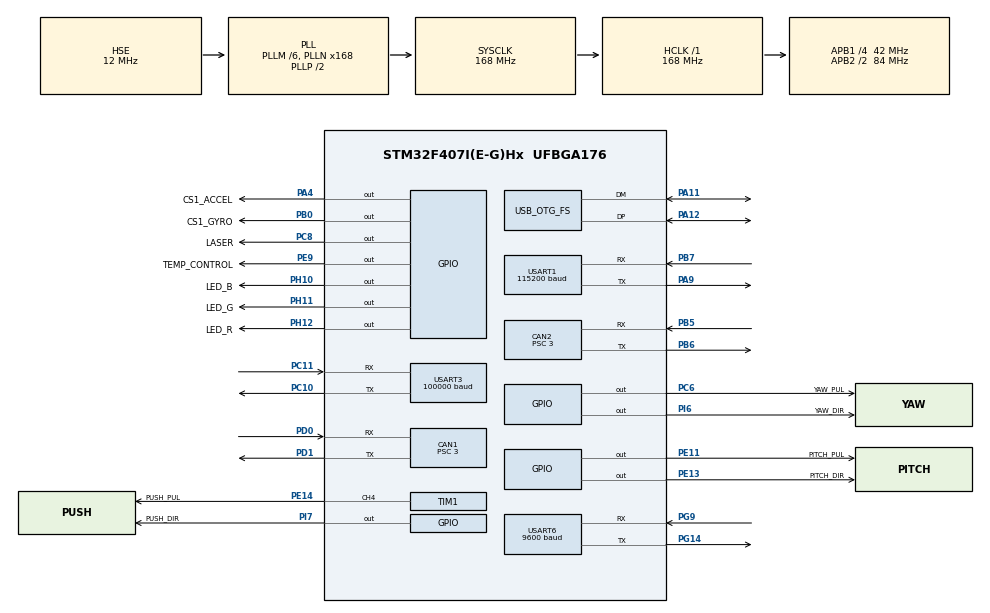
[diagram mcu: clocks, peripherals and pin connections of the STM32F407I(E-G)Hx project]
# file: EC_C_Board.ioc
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CAN1.BS1=CAN_BS1_10TQ
CAN1.BS2=CAN_BS2_3TQ
CAN1.CalculateBaudRate=1000000
CAN1.CalculateTimeBit=1000
CAN1.CalculateTimeQuantum=71.42857142857143
CAN1.Prescaler=3
CAN2.BS1=CAN_BS1_10TQ
CAN2.BS2=CAN_BS2_3TQ
CAN2.CalculateBaudRate=1000000
CAN2.CalculateTimeBit=1000
CAN2.CalculateTimeQuantum=71.42857142857143
CAN2.Prescaler=3
Dma.Request0=USART3_RX
Dma.Request1=USART1_RX
Dma.Request2=USART6_RX
Dma.Request3=USART6_TX
Dma.Request4=USART1_TX
Dma.USART1_RX.1.Direction=DMA_PERIPH_TO_MEMORY
Dma.USART1_RX.1.FIFOMode=DMA_FIFOMODE_DISABLE
Dma.USART1_RX.1.Instance=DMA2_Stream5
Dma.USART1_RX.1.MemDataAlignment=DMA_MDATAALIGN_BYTE
Dma.USART1_RX.1.MemInc=DMA_MINC_ENABLE
Dma.USART1_RX.1.Mode=DMA_NORMAL
Dma.USART1_RX.1.PeriphDataAlignment=DMA_PDATAALIGN_BYTE
Dma.USART1_RX.1.PeriphInc=DMA_PINC_DISABLE
Dma.USART1_RX.1.Priority=DMA_PRIORITY_MEDIUM
Dma.USART1_TX.4.Direction=DMA_MEMORY_TO_PERIPH
Dma.USART1_TX.4.FIFOMode=DMA_FIFOMODE_DISABLE
Dma.USART1_TX.4.Instance=DMA2_Stream7
Dma.USART1_TX.4.MemDataAlignment=DMA_MDATAALIGN_BYTE
Dma.USART1_TX.4.MemInc=DMA_MINC_ENABLE
Dma.USART1_TX.4.Mode=DMA_NORMAL
Dma.USART1_TX.4.PeriphDataAlignment=DMA_PDATAALIGN_BYTE
Dma.USART1_TX.4.PeriphInc=DMA_PINC_DISABLE
Dma.USART1_TX.4.Priority=DMA_PRIORITY_MEDIUM
Dma.USART3_RX.0.Direction=DMA_PERIPH_TO_MEMORY
Dma.USART3_RX.0.FIFOMode=DMA_FIFOMODE_DISABLE
Dma.USART3_RX.0.Instance=DMA1_Stream1
Dma.USART3_RX.0.MemDataAlignment=DMA_MDATAALIGN_BYTE
Dma.USART3_RX.0.MemInc=DMA_MINC_ENABLE
Dma.USART3_RX.0.Mode=DMA_NORMAL
Dma.USART3_RX.0.PeriphDataAlignment=DMA_PDATAALIGN_BYTE
Dma.USART3_RX.0.PeriphInc=DMA_PINC_DISABLE
Dma.USART3_RX.0.Priority=DMA_PRIORITY_LOW
Dma.USART6_RX.2.Direction=DMA_PERIPH_TO_MEMORY
Dma.USART6_RX.2.FIFOMode=DMA_FIFOMODE_DISABLE
Dma.USART6_RX.2.Instance=DMA2_Stream1
Dma.USART6_RX.2.MemDataAlignment=DMA_MDATAALIGN_BYTE
Dma.USART6_RX.2.MemInc=DMA_MINC_ENABLE
Dma.USART6_RX.2.Mode=DMA_NORMAL
Dma.USART6_RX.2.PeriphDataAlignment=DMA_PDATAALIGN_BYTE
Dma.USART6_RX.2.PeriphInc=DMA_PINC_DISABLE
Dma.USART6_RX.2.Priority=DMA_PRIORITY_MEDIUM
Dma.USART6_TX.3.Direction=DMA_MEMORY_TO_PERIPH
Dma.USART6_TX.3.FIFOMode=DMA_FIFOMODE_DISABLE
Dma.USART6_TX.3.Instance=DMA2_Stream6
Dma.USART6_TX.3.MemDataAlignment=DMA_MDATAALIGN_BYTE
Dma.USART6_TX.3.MemInc=DMA_MINC_ENABLE
Dma.USART6_TX.3.Mode=DMA_NORMAL
Dma.USART6_TX.3.PeriphDataAlignment=DMA_PDATAALIGN_BYTE
Dma.USART6_TX.3.PeriphInc=DMA_PINC_DISABLE
Dma.USART6_TX.3.Priority=DMA_PRIORITY_MEDIUM
FREERTOS.INCLUDE_vTaskDelayUntil=1
FREERTOS.Tasks01=defaultTask,0,128,StartDefaultTask,Default,NULL,Dynamic,NULL,NULL;gimbalTask,1,256,StartGimbalTask,Default,NULL,Dynamic,NULL,NULL;modeTask,2,256,StartModeTask,Default,NULL,Dynamic,NULL,NULL
FREERTOS.configENABLE_FPU=1
FREERTOS.configUSE_NEWLIB_REENTRANT=1
Mcu.Family=STM32F4
Mcu.Name=STM32F407I(E-G)Hx
Mcu.Package=UFBGA176
NVIC.CAN1_RX0_IRQn=true\:5\:0\:false\:false\:true\:true\:true\:true\:true
NVIC.CAN1_RX1_IRQn=true\:5\:0\:false\:false\:true\:true\:true\:true\:true
NVIC.CAN2_RX0_IRQn=true\:5\:0\:false\:false\:true\:true\:true\:true\:true
NVIC.CAN2_RX1_IRQn=true\:5\:0\:false\:false\:true\:true\:true\:true\:true
NVIC.DMA1_Stream1_IRQn=true\:5\:0\:false\:false\:true\:true\:false\:true\:true
NVIC.DMA2_Stream1_IRQn=true\:5\:0\:false\:false\:true\:true\:false\:true\:true
NVIC.DMA2_Stream5_IRQn=true\:5\:0\:false\:false\:true\:true\:false\:true\:true
NVIC.DMA2_Stream6_IRQn=true\:5\:0\:false\:false\:true\:true\:false\:true\:true
NVIC.DMA2_Stream7_IRQn=true\:5\:0\:false\:false\:true\:true\:false\:true\:true
NVIC.OTG_FS_IRQn=true\:5\:0\:false\:false\:true\:true\:false\:true\:true
NVIC.PriorityGroup=NVIC_PRIORITYGROUP_4
NVIC.TIM2_IRQn=true\:15\:0\:false\:false\:true\:false\:false\:true\:true
NVIC.TimeBase=TIM2_IRQn
NVIC.TimeBaseIP=TIM2
NVIC.USART1_IRQn=true\:5\:0\:false\:false\:true\:true\:true\:true\:true
NVIC.USART3_IRQn=true\:5\:0\:false\:false\:true\:true\:true\:true\:true
NVIC.USART6_IRQn=true\:5\:0\:false\:false\:true\:true\:true\:true\:true
PA11.Mode=Device_Only
PA11.Signal=USB_OTG_FS_DM
PA12.Mode=Device_Only
PA12.Signal=USB_OTG_FS_DP
PA13.Mode=Serial_Wire
PA13.Signal=SYS_JTMS-SWDIO
PA14.Mode=Serial_Wire
PA14.Signal=SYS_JTCK-SWCLK
PA4.GPIO_Label=CS1_ACCEL
PA4.GPIO_PuPd=GPIO_PULLUP
PA4.GPIO_Speed=GPIO_SPEED_FREQ_HIGH
PA4.PinState=GPIO_PIN_SET
PA4.Signal=GPIO_Output
PA9.Mode=Asynchronous
PA9.Signal=USART1_TX
PB0.GPIO_Label=CS1_GYRO
PB0.GPIO_PuPd=GPIO_PULLUP
PB0.GPIO_Speed=GPIO_SPEED_FREQ_HIGH
PB0.PinState=GPIO_PIN_SET
PB0.Signal=GPIO_Output
PB5.Mode=CAN_Activate
PB5.Signal=CAN2_RX
PB6.Mode=CAN_Activate
PB6.Signal=CAN2_TX
PB7.Mode=Asynchronous
PB7.Signal=USART1_RX
PC10.Mode=Asynchronous
PC10.Signal=USART3_TX
PC11.Mode=Asynchronous
PC11.Signal=USART3_RX
PC6.GPIO_Label=YAW_PUL
PC6.GPIO_PuPd=GPIO_PULLUP
PC6.GPIO_Speed=GPIO_SPEED_FREQ_VERY_HIGH
PC6.Signal=GPIO_Output
PC8.GPIO_Label=LASER
PC8.GPIO_ModeDefaultOutputPP=GPIO_MODE_OUTPUT_PP
PC8.GPIO_PuPd=GPIO_PULLUP
PC8.GPIO_Speed=GPIO_SPEED_FREQ_HIGH
PC8.PinState=GPIO_PIN_SET
PC8.Signal=GPIO_Output
PD0.Mode=CAN_Activate
PD0.Signal=CAN1_RX
PD1.Mode=CAN_Activate
PD1.Signal=CAN1_TX
PE11.GPIO_Label=PITCH_PUL
PE11.GPIO_PuPd=GPIO_PULLUP
PE11.GPIO_Speed=GPIO_SPEED_FREQ_VERY_HIGH
PE11.PinState=GPIO_PIN_RESET
PE11.Signal=GPIO_Output
PE13.GPIO_Label=PITCH_DIR
PE13.GPIO_PuPd=GPIO_PULLUP
PE13.GPIO_Speed=GPIO_SPEED_FREQ_VERY_HIGH
PE13.Signal=GPIO_Output
PE14.GPIO_Label=PUSH_PUL
PE14.GPIO_Speed=GPIO_SPEED_FREQ_VERY_HIGH
PE14.Signal=S_TIM1_CH4
PE9.GPIO_Label=TEMP_CONTROL
PE9.GPIO_PuPd=GPIO_PULLUP
PE9.GPIO_Speed=GPIO_SPEED_FREQ_VERY_HIGH
PE9.Signal=GPIO_Output
PG14.Mode=Asynchronous
PG14.Signal=USART6_TX
PG9.Mode=Asynchronous
PG9.Signal=USART6_RX
PH0-OSC_IN.Mode=HSE-External-Oscillator
PH0-OSC_IN.Signal=RCC_OSC_IN
PH1-OSC_OUT.Mode=HSE-External-Oscillator
PH1-OSC_OUT.Signal=RCC_OSC_OUT
PH10.GPIO_Label=LED_B
PH10.GPIO_PuPd=GPIO_PULLUP
PH10.Signal=GPIO_Output
PH11.GPIO_Label=LED_G
PH11.GPIO_PuPd=GPIO_PULLUP
PH11.Signal=GPIO_Output
PH12.GPIO_Label=LED_R
PH12.GPIO_PuPd=GPIO_PULLUP
PH12.Signal=GPIO_Output
PI6.GPIO_Label=YAW_DIR
PI6.GPIO_PuPd=GPIO_PULLUP
PI6.GPIO_Speed=GPIO_SPEED_FREQ_VERY_HIGH
PI6.Signal=GPIO_Output
PI7.GPIO_Label=PUSH_DIR
PI7.GPIO_PuPd=GPIO_PULLUP
PI7.GPIO_Speed=GPIO_SPEED_FREQ_VERY_HIGH
PI7.PinState=GPIO_PIN_RESET
PI7.Signal=GPIO_Output
ProjectManager.HeapSize=0x200
ProjectManager.StackSize=0x400
ProjectManager.TargetToolchain=Makefile
RCC.48MHZClocksFreq_Value=48000000
RCC.AHBFreq_Value=168000000
RCC.APB1CLKDivider=RCC_HCLK_DIV4
RCC.APB1Freq_Value=42000000
RCC.APB1TimFreq_Value=84000000
RCC.APB2CLKDivider=RCC_HCLK_DIV2
RCC.APB2Freq_Value=84000000
RCC.APB2TimFreq_Value=168000000
RCC.CortexFreq_Value=168000000
RCC.HCLKFreq_Value=168000000
RCC.HSE_VALUE=12000000
RCC.HSI_VALUE=16000000
RCC.LSE_VALUE=32768
RCC.PLLM=6
RCC.PLLN=168
RCC.PLLQ=7
RCC.SYSCLKFreq_VALUE=168000000
RCC.SYSCLKSource=RCC_SYSCLKSOURCE_PLLCLK
RCC.VCOOutputFreq_Value=336000000
SH.S_TIM1_CH4.0=TIM1_CH4,PWM Generation4 CH4
STMicroelectronics.X-CUBE-ALGOBUILD.1.3.0.LibraryCcDSPOoLibraryJjDSPOoLibrary=true
TIM1.Channel-PWM\ Generation4\ CH4=TIM_CHANNEL_4
TIM1.Period=350
TIM1.Prescaler=150
USART1.BaudRate=115200
USART1.VirtualMode=VM_ASYNC
USART3.BaudRate=100000
USART3.VirtualMode=VM_ASYNC
USART3.WordLength=WORDLENGTH_9B
USART6.BaudRate=9600
USART6.VirtualMode=VM_ASYNC
USB_DEVICE.CLASS_NAME_FS=CDC
USB_DEVICE.VirtualMode-CDC_FS=Cdc
USB_DEVICE.VirtualModeFS=Cdc_FS
USB_OTG_FS.VirtualMode=Device_Only
VP_FREERTOS_VS_CMSIS_V1.Mode=CMSIS_V1
VP_STMicroelectronics.X-CUBE-ALGOBUILD_VS_DSPOoLibraryJjLibrary_1.3.0_1.3.0.Mode=DSPOoLibraryJjLibrary
VP_SYS_VS_tim2.Mode=TIM2
VP_USB_DEVICE_VS_USB_DEVICE_CDC_FS.Mode=CDC_FS
board=custom

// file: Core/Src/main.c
/* USER CODE BEGIN Header */
/**
 ******************************************************************************
 * @file           : main.c
 * @brief          : Main program body
 ******************************************************************************
 * @attention
 *
 * Copyright (c) 2023 STMicroelectronics.
 * All rights reserved.
 *
 * This software is licensed under terms that can be found in the LICENSE file
 * in the root directory of this software component.
 * If no LICENSE file comes with this software, it is provided AS-IS.
 *
 ******************************************************************************
 */
/* USER CODE END Header */
#include "main.h"
#include "cmsis_os.h"
#include "can.h"
#include "dma.h"
#include "tim.h"
#include "usart.h"
#include "usb_device.h"
#include "gpio.h"

/* USER CODE BEGIN Includes */
#include "bsp_dwt.h"
#include "missile.h"
/* USER CODE END Includes */

void SystemClock_Config(void);
void MX_FREERTOS_Init(void);

int main(void)
{

  /* MCU Configuration--------------------------------------------------------*/

  /* Reset of all peripherals, Initializes the Flash interface and the Systick. */
  HAL_Init();

  /* Configure the system clock */
  SystemClock_Config();

  /* Initialize all configured peripherals */
  MX_GPIO_Init();
  MX_DMA_Init();
  MX_CAN1_Init();
  MX_CAN2_Init();
  MX_USART3_UART_Init();
  MX_TIM1_Init();
  MX_USART1_UART_Init();
  MX_USART6_UART_Init();
  /* USER CODE BEGIN 2 */
    DWT_Init(168);
    InfantrySystemInit();
    HAL_TIM_PWM_Start(&htim1, TIM_CHANNEL_4);
  /* USER CODE END 2 */

  /* Call init function for freertos objects (in freertos.c) */
  MX_FREERTOS_Init();

  /* Start scheduler */
  osKernelStart();

  /* We should never get here as control is now taken by the scheduler */
  /* Infinite loop */
    while (1) {

    }
}

void SystemClock_Config(void)
{
  RCC_OscInitTypeDef RCC_OscInitStruct = {0};
  RCC_ClkInitTypeDef RCC_ClkInitStruct = {0};

  /** Configure the main internal regulator output voltage
  */
  __HAL_RCC_PWR_CLK_ENABLE();
  __HAL_PWR_VOLTAGESCALING_CONFIG(PWR_REGULATOR_VOLTAGE_SCALE1);

  /** Initializes the RCC Oscillators according to the specified parameters
  * in the RCC_OscInitTypeDef structure.
  */
  RCC_OscInitStruct.OscillatorType = RCC_OSCILLATORTYPE_HSE;
  RCC_OscInitStruct.HSEState = RCC_HSE_ON;
  RCC_OscInitStruct.PLL.PLLState = RCC_PLL_ON;
  RCC_OscInitStruct.PLL.PLLSource = RCC_PLLSOURCE_HSE;
  RCC_OscInitStruct.PLL.PLLM = 6;
  RCC_OscInitStruct.PLL.PLLN = 168;
  RCC_OscInitStruct.PLL.PLLP = RCC_PLLP_DIV2;
  RCC_OscInitStruct.PLL.PLLQ = 7;
  if (HAL_RCC_OscConfig(&RCC_OscInitStruct) != HAL_OK)
  {
    Error_Handler();
  }

  /** Initializes the CPU, AHB and APB buses clocks
  */
  RCC_ClkInitStruct.ClockType = RCC_CLOCKTYPE_HCLK|RCC_CLOCKTYPE_SYSCLK
                              |RCC_CLOCKTYPE_PCLK1|RCC_CLOCKTYPE_PCLK2;
  RCC_ClkInitStruct.SYSCLKSource = RCC_SYSCLKSOURCE_PLLCLK;
  RCC_ClkInitStruct.AHBCLKDivider = RCC_SYSCLK_DIV1;
  RCC_ClkInitStruct.APB1CLKDivider = RCC_HCLK_DIV4;
  RCC_ClkInitStruct.APB2CLKDivider = RCC_HCLK_DIV2;

  if (HAL_RCC_ClockConfig(&RCC_ClkInitStruct, FLASH_LATENCY_5) != HAL_OK)
  {
    Error_Handler();
  }
}

void HAL_TIM_PeriodElapsedCallback(TIM_HandleTypeDef *htim)
{
  if (htim->Instance == TIM2) {
    HAL_IncTick();
  }
}

void Error_Handler(void)
{
    __disable_irq();
    while (1) {
    }
}

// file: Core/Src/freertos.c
/* USER CODE BEGIN Header */
/**
 ******************************************************************************
 * File Name          : freertos.c
 * Description        : Code for freertos applications
 ******************************************************************************
 * @attention
 *
 * Copyright (c) 2023 STMicroelectronics.
 * All rights reserved.
 *
 * This software is licensed under terms that can be found in the LICENSE file
 * in the root directory of this software component.
 * If no LICENSE file comes with this software, it is provided AS-IS.
 *
 ******************************************************************************
 */
/* USER CODE END Header */

#include "FreeRTOS.h"
#include "task.h"
#include "main.h"
#include "cmsis_os.h"

/* USER CODE BEGIN Includes */
#include "bsp_dwt.h"

#include "missile.h"
#include "remote_keyboard.h"
#include "temp_control.h"
/* USER CODE END Includes */

/* USER CODE BEGIN Variables */
osThreadId modeTempHandle;
/* USER CODE END Variables */
osThreadId defaultTaskHandle;
osThreadId gimbalTaskHandle;
osThreadId modeTaskHandle;

/* USER CODE BEGIN FunctionPrototypes */
void StartTempTask(void const *argument);
/* USER CODE END FunctionPrototypes */

void StartDefaultTask(void const * argument);
void StartGimbalTask(void const * argument);
void StartModeTask(void const * argument);

extern void MX_USB_DEVICE_Init(void);
void MX_FREERTOS_Init(void); /* (MISRA C 2004 rule 8.1) */

/* GetIdleTaskMemory prototype (linked to static allocation support) */
void vApplicationGetIdleTaskMemory( StaticTask_t **ppxIdleTaskTCBBuffer, StackType_t **ppxIdleTaskStackBuffer, uint32_t *pulIdleTaskStackSize );

/* USER CODE BEGIN GET_IDLE_TASK_MEMORY */
static StaticTask_t xIdleTaskTCBBuffer;
static StackType_t xIdleStack[configMINIMAL_STACK_SIZE];

void vApplicationGetIdleTaskMemory(StaticTask_t **ppxIdleTaskTCBBuffer, StackType_t **ppxIdleTaskStackBuffer, uint32_t *pulIdleTaskStackSize)
{
    *ppxIdleTaskTCBBuffer = &xIdleTaskTCBBuffer;
    *ppxIdleTaskStackBuffer = &xIdleStack[0];
    *pulIdleTaskStackSize = configMINIMAL_STACK_SIZE;
    /* place for user code */
}
/* USER CODE END GET_IDLE_TASK_MEMORY */

void MX_FREERTOS_Init(void) {

  /* Create the thread(s) */
  /* definition and creation of defaultTask */
  osThreadDef(defaultTask, StartDefaultTask, osPriorityNormal, 0, 128);
  defaultTaskHandle = osThreadCreate(osThread(defaultTask), NULL);

  /* definition and creation of gimbalTask */
  osThreadDef(gimbalTask, StartGimbalTask, osPriorityAboveNormal, 0, 256);
  gimbalTaskHandle = osThreadCreate(osThread(gimbalTask), NULL);

  /* definition and creation of modeTask */
  osThreadDef(modeTask, StartModeTask, osPriorityHigh, 0, 256);
  modeTaskHandle = osThreadCreate(osThread(modeTask), NULL);

  /* USER CODE BEGIN RTOS_THREADS */
    /* add threads, ... */
    osThreadDef(tempTask, StartTempTask, osPriorityNormal, 0, 32);
    modeTaskHandle = osThreadCreate(osThread(tempTask), NULL);
  /* USER CODE END RTOS_THREADS */

}

void StartDefaultTask(void const * argument)
{
  /* init code for USB_DEVICE */
  MX_USB_DEVICE_Init();
  /* USER CODE BEGIN StartDefaultTask */
    /* Infinite loop */
    for (;;) {
        HAL_GPIO_TogglePin(LED_R_GPIO_Port, LED_R_Pin);
        osDelay(500);
        HAL_GPIO_TogglePin(LED_R_GPIO_Port, LED_R_Pin);
        HAL_GPIO_TogglePin(LED_G_GPIO_Port, LED_G_Pin);
        osDelay(500);
        HAL_GPIO_TogglePin(LED_G_GPIO_Port, LED_G_Pin);
        HAL_GPIO_TogglePin(LED_B_GPIO_Port, LED_B_Pin);
        osDelay(500);
        HAL_GPIO_TogglePin(LED_B_GPIO_Port, LED_B_Pin);
        DWT_SysTimeUpdate();
    }
  /* USER CODE END StartDefaultTask */
}

void StartGimbalTask(void const * argument)
{
  /* USER CODE BEGIN StartGimbalTask */
    GimbalInit();
    /* Infinite loop */
    for (;;) {
        GimbalTask();
        osDelay(1);
    }
  /* USER CODE END StartGimbalTask */
}

void StartModeTask(void const * argument)
{
  /* USER CODE BEGIN StartModeTask */
    DoorInit();//初始化飞镖状态为关闭；
    /* Infinite loop */
    for (;;) {
        ModeTask();
        osDelay(5);
    }
  /* USER CODE END StartModeTask */
}

/* USER CODE BEGIN Application */
void StartTempTask(void const *argument)
{
    /* USER CODE BEGIN StartModeTask */
    /* Infinite loop */
    for (;;) {
        TempTask();
        osDelay(5);
    }
    /* USER CODE END StartModeTask */
}
/* USER CODE END Application */
